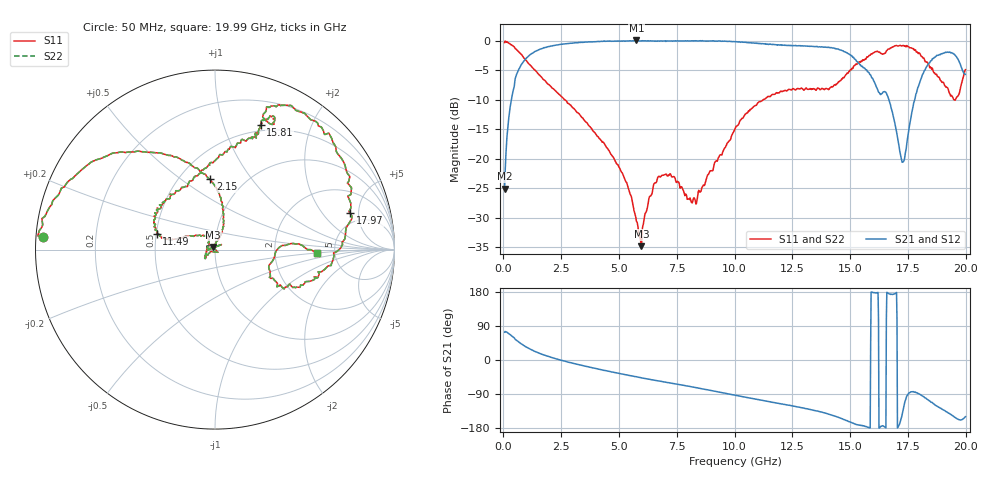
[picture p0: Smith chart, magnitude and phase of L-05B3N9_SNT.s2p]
! Data Taken on a HP 8720C VNA using a shunt-through fixture with TRL* de-embedding
#	mhz	s	ma	r	50
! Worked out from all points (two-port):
!   998 points, 50 MHz to 19.99 GHz, reference 50 ohm
!   highest |S21| = 0.01 dB at 5.75 GHz (marker M1); lowest = -25.1 dB at 50 MHz (marker M2)
!   |S21| within 3 dB of the highest: 987.9 MHz to 15.17 GHz (14.18 GHz wide, 176 % of centre); 18.62 GHz to 19.64 GHz (1.024 GHz wide, 5.35 % of centre)
!   lowest |S11| = -34.8 dB at 5.97 GHz (marker M3), VSWR 1.04, Z = 48.9 + j1.44 ohm
!   |S11| at or under -10 dB: 2.644 GHz to 11.25 GHz (8.603 GHz wide, 124 % of centre); 19.49303 GHz to 19.55958 GHz (66.55 MHz wide, 0.341 % of centre)
!   |S22| runs from -34.8 to -0.1 dB; largest |S21 - S12| = 0
!   S11 on the Smith chart (normalised r, x): 50 MHz: 0.02, +0.04; 2.15 GHz: 0.70, +0.65; 11.49 GHz: 0.50, +0.10; 15.81 GHz: 0.43, +1.34; 17.97 GHz: 3.85, +3.97; 19.99 GHz: 3.60, -0.21
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50  0.9602 175.8  0.05587 73.4  0.05587 73.4  0.9602 175.8
250  0.9438 164.6  0.2384 68.9  0.2384 68.9  0.9438 164.6
590  0.8305 143.1  0.5287 50.8  0.5287 50.8  0.8305 143.1
1290  0.5814 115.4  0.7901 24.7  0.7901 24.7  0.5814 115.4
2150  0.3921 93.9  0.9052 5.5  0.9052 5.5  0.3921 93.9
3390  0.2239 78.0  0.9654 -14.2  0.9654 -14.2  0.2239 78.0
5070  0.07923 68.5  0.9887 -36.2  0.9887 -36.2  0.07923 68.5
5750  0.02982 89.1  1.001 -44.0  1.001 -44.0  0.02982 89.1
5970  0.01823 126.3  0.9912 -47.2  0.9912 -47.2  0.01823 126.3
6710  0.07075 -140.2  0.9903 -55.2  0.9903 -55.2  0.07075 -140.2
8330  0.04136 150.2  0.9943 -72.7  0.9943 -72.7  0.04136 150.2
10030  0.181 156.1  0.9773 -92.8  0.9773 -92.8  0.181 156.1
11490  0.3366 164.6  0.9305 -109.7  0.9305 -109.7  0.3366 164.6
13350  0.3901 136.1  0.8924 -131.8  0.8924 -131.8  0.3901 136.1
14870  0.5302 87.1  0.7878 -160.0  0.7878 -160.0  0.5302 87.1
15810  0.7403 70.0  0.536 -178.4  0.536 -178.4  0.7403 70.0
16670  0.8487 69.7  0.32 175.0  0.32 175.0  0.8487 69.7
17290  0.9086 51.7  0.09388 -133.0  0.09388 -133.0  0.9086 51.7
17970  0.7799 15.0  0.4169 -88.9  0.4169 -88.9  0.7799 15.0
18570  0.5748 -17.2  0.7039 -113.5  0.7039 -113.5  0.5748 -17.2
19370  0.3435 -26.2  0.7906 -144.2  0.7906 -144.2  0.3435 -26.2
19990  0.5663 -2.0  0.5177 -149.6  0.5177 -149.6  0.5663 -2.0
